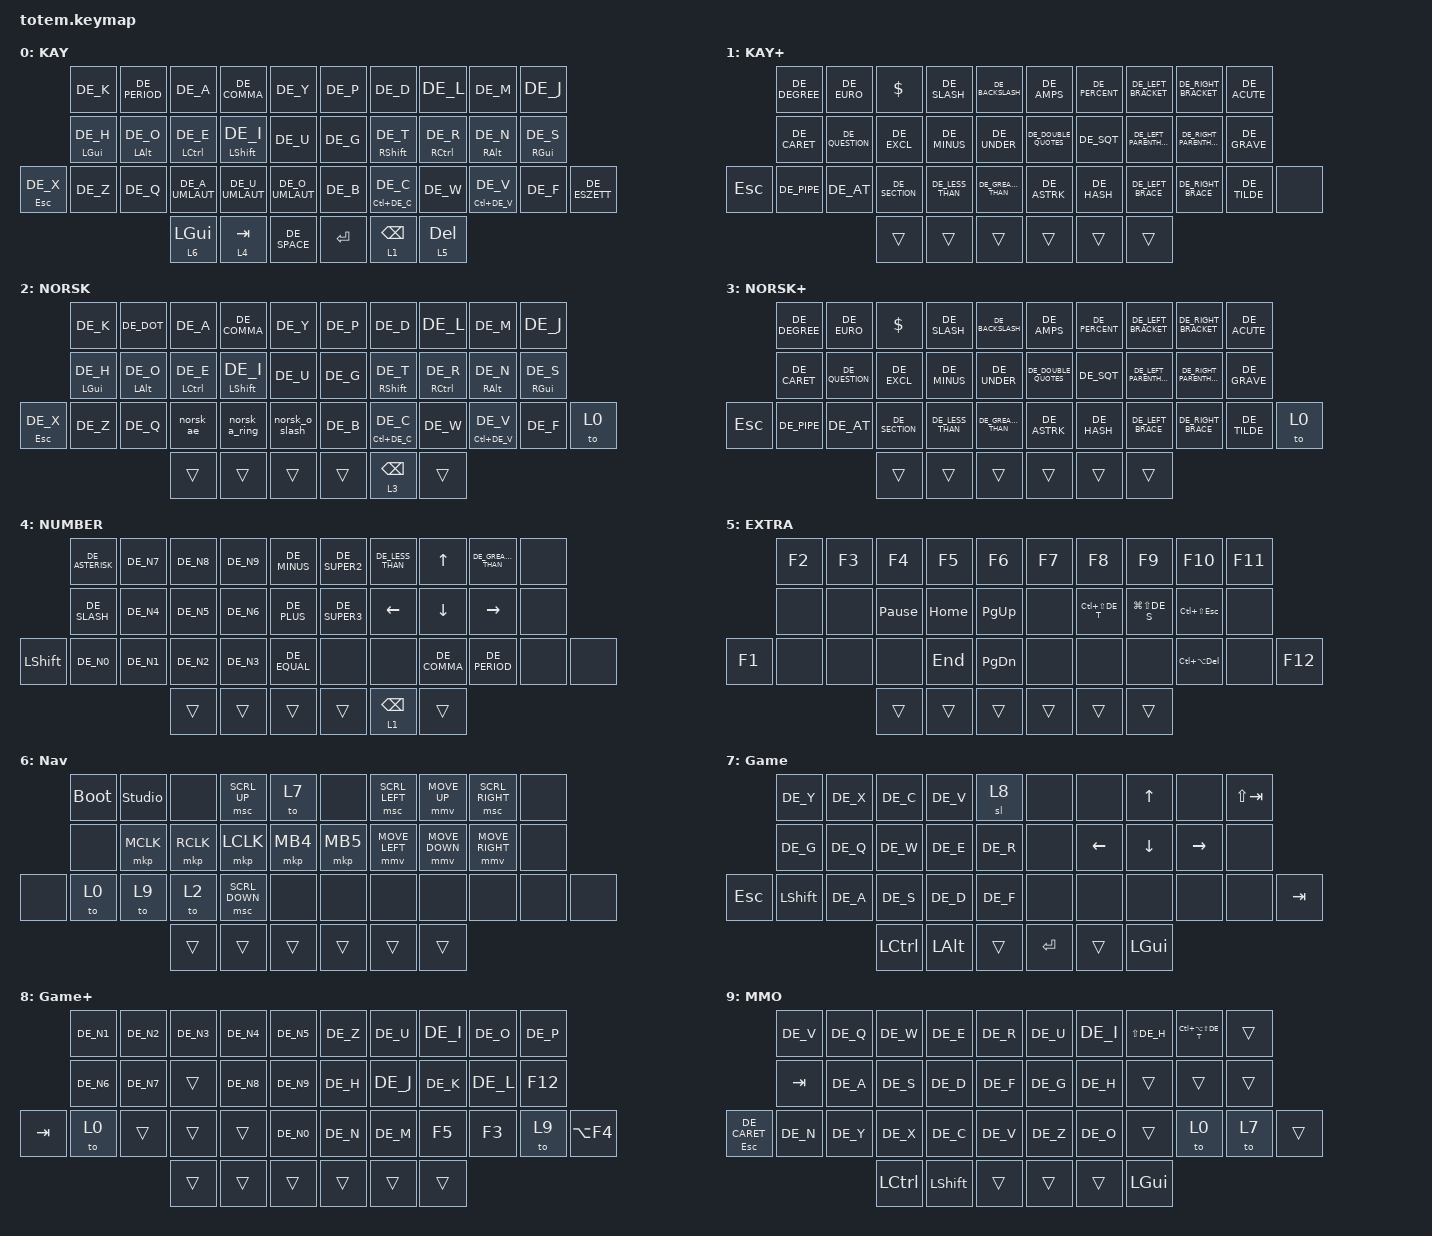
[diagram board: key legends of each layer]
//
//                                                        ▀▀▀▀▀     ▀▀▀▀▀          ▀▀█▀▀
//                                                        ▄▀▀▀▄  ▄  ▄▀▀▀▄  ▄  ▄▀▀▀▄  █  ▄▀▀▀▄
//                                                        █   █  █  █   █  █  █   █  █  █   █
//                                                         ▀▀▀   █   ▀▀▀   █   ▀▀▀   ▀   ▀▀▀
//                                                               █      ▄▄▄█▄▄▄    █   █  
//                                                               ▀      █  █  █     █▄█
//                                                             ▀▀▀▀▀    █  █  █      ▀
//                                                                      ▀  ▀  ▀
//
// ▄▄▄▄▄▄▄▄▄▄▄▄▄▄▄▄▄▄▄▄▄▄▄▄▄▄▄▄▄▄▄▄▄▄▄▄▄▄▄▄▄▄▄▄▄▄▄▄▄▄▄▄▄▄▄▄▄▄▄▄▄▄▄▄▄▄▄▄▄▄▄▄▄▄▄▄▄▄▄▄▄▄▄▄▄▄▄▄▄▄▄▄▄▄▄▄▄▄▄▄▄▄▄▄▄▄▄▄▄▄▄▄▄▄▄▄▄▄▄▄▄▄▄▄▄▄▄▄▄▄▄▄▄▄▄▄▄▄▄▄▄▄▄▄▄▄▄▄▄

#include <behaviors.dtsi>
#include <dt-bindings/zmk/keys.h>
#include <dt-bindings/zmk/pointing.h>
#include "keys_de.h"
#include "keys_nb.h"

#define Base        0
#define Nav         1
#define Sym         2
#define Fun         3
#define Game        4
#define Gameplus    5

&mt {
    quick-tap-ms = <100>;
    global-quick-tap;
    flavor = "tap-preferred";
    tapping-term-ms = <250>;
};

&lt {
    tapping-term-ms = <240>;
    flavor = "balanced";
    quick-tap-ms = <150>;
};

/ {
    behaviors {
        hm: homerow_mods {
            compatible = "zmk,behavior-hold-tap";
            label = "HOMEROW_MODS";
            #binding-cells = <2>;
            flavor = "tap-preferred";
            tapping-term-ms = <200>;
            quick-tap-ms = <125>;
            global-quick-tap;
            bindings = <&kp>, <&kp>;
        };

        LongPress: LongPress {
            compatible = "zmk,behavior-hold-tap";
            label = "LONGPRESS";
            bindings = <&kp>, <&kp>;

            #binding-cells = <2>;
            tapping-term-ms = <400>;
            flavor = "tap-preferred";
            hold-trigger-on-release;
        };

        HRShiftR: HRShiftR {
            compatible = "zmk,behavior-hold-tap";
            label = "HRSHIFTR";
            bindings = <&kp>, <&kp>;

            #binding-cells = <2>;
            tapping-term-ms = <200>;
            hold-trigger-on-release;
            hold-trigger-key-positions = <0 1 2 3 4 10 11 12 13 14 20 21 22 23 24 25 32 33 34>;
            quick-tap-ms = <125>;
        };

        HRShiftL: HRShiftL {
            compatible = "zmk,behavior-hold-tap";
            label = "HRSHIFTL";
            bindings = <&kp>, <&kp>;

            #binding-cells = <2>;
            tapping-term-ms = <200>;
            hold-trigger-on-release;
            hold-trigger-key-positions = <5 6 7 8 9 15 16 17 18 19 26 27 28 29 30 31 35 36 37>;
            quick-tap-ms = <125>;
        };

        HMR: HMR {
            compatible = "zmk,behavior-hold-tap";
            label = "HMR";
            bindings = <&kp>, <&kp>;

            #binding-cells = <2>;
            tapping-term-ms = <200>;
            hold-trigger-on-release;
            flavor = "tap-preferred";
            hold-trigger-key-positions = <0 1 2 3 4 10 11 12 13 14 20 21 22 23 24 25 32 33 34>;
            quick-tap-ms = <125>;
        };

        HML: HML {
            compatible = "zmk,behavior-hold-tap";
            label = "HML";
            bindings = <&kp>, <&kp>;

            #binding-cells = <2>;
            tapping-term-ms = <200>;
            hold-trigger-on-release;
            flavor = "tap-preferred";
            hold-trigger-key-positions = <5 6 7 8 9 15 16 17 18 19 26 27 28 29 30 31 35 36 37>;
            quick-tap-ms = <125>;
        };

        tlp: tlp {
            compatible = "zmk,behavior-hold-tap";
            label = "TOGGLELAYERPRESS";
            bindings = <&tog>, <&kp>;

            #binding-cells = <2>;
            tapping-term-ms = <350>;
            flavor = "tap-preferred";
        };
    };

    combos {
        compatible = "zmk,combos";

        caps {
            bindings = <&caps_word>;
            key-positions = <34 35>;
            timeout-ms = <150>;
            layers = <0 2>;
            require-prior-idle-ms = <100>;
        };

        sqt {
            bindings = <&kp DE_SQT>;
            key-positions = <16 17>;
            timeout-ms = <150>;
            layers = <0 2>;
            require-prior-idle-ms = <100>;
        };

        minus {
            bindings = <&kp DE_MINUS>;
            key-positions = <13 12>;
            timeout-ms = <150>;
            layers = <0 2>;
            require-prior-idle-ms = <100>;
        };

        underscore {
            bindings = <&kp DE_UNDERSCORE>;
            key-positions = <2 3>;
            timeout-ms = <150>;
            layers = <0 2>;
            require-prior-idle-ms = <100>;
        };

        dqt {
            bindings = <&kp DE_DQT>;
            key-positions = <7 6>;
            timeout-ms = <150>;
            layers = <0 2>;
            require-prior-idle-ms = <100>;
        };

        question {
            bindings = <&kp DE_QUESTION>;
            key-positions = <1 2>;
            timeout-ms = <150>;
            layers = <0 2>;
            require-prior-idle-ms = <100>;
        };

        excl {
            bindings = <&kp DE_EXCLAMATION>;
            key-positions = <11 12>;
            timeout-ms = <150>;
            layers = <0 2>;
            require-prior-idle-ms = <100>;
        };

        slash {
            bindings = <&kp DE_SLASH>;
            key-positions = <24 23>;
            timeout-ms = <150>;
            layers = <0 2>;
            require-prior-idle-ms = <100>;
        };

        backslash {
            bindings = <&kp DE_BACKSLASH>;
            key-positions = <23 22>;
            timeout-ms = <150>;
            layers = <0 2>;
            require-prior-idle-ms = <100>;
        };

        left_parenthesis {
            bindings = <&kp DE_LEFT_PARENTHESIS>;
            key-positions = <27 28>;
            timeout-ms = <150>;
            layers = <0 2>;
            require-prior-idle-ms = <100>;
        };

        right_parenthesis {
            bindings = <&kp DE_RIGHT_PARENTHESIS>;
            key-positions = <28 29>;
            timeout-ms = <150>;
            layers = <0 2>;
            require-prior-idle-ms = <100>;
        };

        and {
            bindings = <&kp DE_AMPERSAND>;
            key-positions = <17 18>;
            timeout-ms = <150>;
            layers = <0 2>;
            require-prior-idle-ms = <100>;
        };

        pipe {
            bindings = <&kp DE_PIPE>;
            key-positions = <7 8>;
            timeout-ms = <150>;
            layers = <0 2>;
            require-prior-idle-ms = <100>;
        };

        plus {
            bindings = <&kp DE_PLUS>;
            key-positions = <0 1>;
            timeout-ms = <150>;
            layers = <0 2>;
            require-prior-idle-ms = <100>;
        };

        equal {
            bindings = <&kp DE_EQUAL>;
            key-positions = <10 11>;
            timeout-ms = <150>;
            require-prior-idle-ms = <100>;
            layers = <0 2>;
        };

        asterisk {
            bindings = <&kp DE_EQUAL>;
            key-positions = <21 22>;
            timeout-ms = <150>;
            require-prior-idle-ms = <100>;
            layers = <0 2>;
        };
    };

    macros {
        norsk_ae: norsk_ae {
            compatible = "zmk,behavior-macro";
            #binding-cells = <0>;
            bindings = <&kp RA(DE_F) &kp DE_A_UMLAUT>;
            label = "AE";
        };

        norsk_a_ring: norsk_a_ring {
            compatible = "zmk,behavior-macro";
            #binding-cells = <0>;
            bindings = <&kp RA(DE_O) &kp DE_A>;
            label = "NORSK_A_RING";
        };

        norsk_o_slash: norsk_o_slash {
            compatible = "zmk,behavior-macro";
            #binding-cells = <0>;
            bindings = <&kp RA(DE_F) &kp DE_O>;
            label = "NORSK_O_SLASH";
        };
    };

    keymap {
        compatible = "zmk,keymap";

        KAY {
            display-name = "KAY";
            bindings = <
                 &kp DE_K        &kp DE_PERIOD   &kp DE_A         &kp DE_COMMA           &kp DE_Y           &kp DE_P   &kp DE_D              &kp DE_L         &kp DE_M           &kp DE_J
                 &HML LGUI DE_H  &HML LALT DE_O  &HML LCTRL DE_E  &HRShiftL LSHIFT DE_I  &kp DE_U           &kp DE_G   &HRShiftR RSHFT DE_T  &HMR RCTRL DE_R  &HMR RALT DE_N     &HMR RGUI DE_S
&mt ESCAPE DE_X  &kp DE_Z        &kp DE_Q        &kp DE_A_UMLAUT  &kp DE_U_UMLAUT        &kp DE_O_UMLAUT    &kp DE_B   &mt LC(DE_C) DE_C     &kp DE_W         &mt LC(DE_V) DE_V  &kp DE_F        &kp DE_ESZETT
                                                 &tlp 6 LEFT_GUI  &lt 4 TAB              &kp DE_SPACE       &kp ENTER  &lt 1 BSPC            &lt 5 DELETE
            >;
        };

        KAY+ {
            bindings = <
            &kp DE_DEGREE  &kp DE_EURO      &kp DOLLAR      &kp DE_SLASH      &kp DE_BACKSLASH       &kp DE_AMPS           &kp DE_PERCENT  &kp DE_LEFT_BRACKET      &kp DE_RIGHT_BRACKET      &kp DE_ACUTE
            &kp DE_CARET   &kp DE_QUESTION  &kp DE_EXCL     &kp DE_MINUS      &kp DE_UNDER           &kp DE_DOUBLE_QUOTES  &kp DE_SQT      &kp DE_LEFT_PARENTHESIS  &kp DE_RIGHT_PARENTHESIS  &kp DE_GRAVE
&kp ESCAPE  &kp DE_PIPE    &kp DE_AT        &kp DE_SECTION  &kp DE_LESS_THAN  &kp DE_GREATER_THAN    &kp DE_ASTRK          &kp DE_HASH     &kp DE_LEFT_BRACE        &kp DE_RIGHT_BRACE        &kp DE_TILDE  &none
                                            &trans          &trans            &trans                 &trans                &trans          &trans
            >;

            label = "KAY+";
        };

        NORSK {
            display-name = "NORSK";
            bindings = <
                 &kp DE_K        &kp DE_DOT      &kp DE_A         &kp DE_COMMA           &kp DE_Y          &kp DE_P  &kp DE_D              &kp DE_L         &kp DE_M           &kp DE_J
                 &HML LGUI DE_H  &HML LALT DE_O  &HML LCTRL DE_E  &HRShiftL LSHIFT DE_I  &kp DE_U          &kp DE_G  &HRShiftR RSHFT DE_T  &HMR RCTRL DE_R  &HMR RALT DE_N     &HMR RGUI DE_S
&mt ESCAPE DE_X  &kp DE_Z        &kp DE_Q        &norsk_ae        &norsk_a_ring          &norsk_o_slash    &kp DE_B  &mt LC(DE_C) DE_C     &kp DE_W         &mt LC(DE_V) DE_V  &kp DE_F        &to 0
                                                 &trans           &trans                 &trans            &trans    &lt 3 BSPC            &trans
            >;
        };

        NORSK+ {
            label = "NORSK+";
            bindings = <
            &kp DE_DEGREE  &kp DE_EURO      &kp DOLLAR      &kp DE_SLASH      &kp DE_BACKSLASH       &kp DE_AMPS           &kp DE_PERCENT  &kp DE_LEFT_BRACKET      &kp DE_RIGHT_BRACKET      &kp DE_ACUTE
            &kp DE_CARET   &kp DE_QUESTION  &kp DE_EXCL     &kp DE_MINUS      &kp DE_UNDER           &kp DE_DOUBLE_QUOTES  &kp DE_SQT      &kp DE_LEFT_PARENTHESIS  &kp DE_RIGHT_PARENTHESIS  &kp DE_GRAVE
&kp ESCAPE  &kp DE_PIPE    &kp DE_AT        &kp DE_SECTION  &kp DE_LESS_THAN  &kp DE_GREATER_THAN    &kp DE_ASTRK          &kp DE_HASH     &kp DE_LEFT_BRACE        &kp DE_RIGHT_BRACE        &kp DE_TILDE  &to 0
                                            &trans          &trans            &trans                 &trans                &trans          &trans
            >;
        };

        NUMBER {
            display-name = "NUMBER";
            bindings = <
                &kp DE_ASTERISK  &kp DE_N7  &kp DE_N8  &kp DE_N9  &kp DE_MINUS    &kp DE_SUPER2  &kp DE_LESS_THAN  &kp UP_ARROW    &kp DE_GREATER_THAN  &none
                &kp DE_SLASH     &kp DE_N4  &kp DE_N5  &kp DE_N6  &kp DE_PLUS     &kp DE_SUPER3  &kp LEFT_ARROW    &kp DOWN_ARROW  &kp RIGHT_ARROW      &none
&kp LEFT_SHIFT  &kp DE_N0        &kp DE_N1  &kp DE_N2  &kp DE_N3  &kp DE_EQUAL    &none          &none             &kp DE_COMMA    &kp DE_PERIOD        &none  &none
                                            &trans     &trans     &trans          &trans         &lt 1 BACKSPACE   &trans
            >;
        };

        EXTRA {
            display-name = "EXTRA";
            bindings = <
        &kp F2  &kp F3  &kp F4           &kp F5    &kp F6           &kp F7  &kp F8            &kp F9            &kp F10             &kp F11
        &none   &none   &kp PAUSE_BREAK  &kp HOME  &kp PAGE_UP      &none   &kp LC(LS(DE_T))  &kp LG(LS(DE_S))  &kp LC(LS(ESCAPE))  &none
&kp F1  &none   &none   &none            &kp END   &kp PAGE_DOWN    &none   &none             &none             &kp LC(LA(DELETE))  &none    &kp F12
                        &trans           &trans    &trans           &trans  &trans            &trans
            >;
        };

        Nav {
            display-name = "Nav";
            bindings = <
       &bootloader  &studio_unlock  &none      &msc SCRL_UP    &to 7       &none     &msc SCRL_LEFT  &mmv MOVE_UP    &msc SCRL_RIGHT  &none
       &none        &mkp MCLK       &mkp RCLK  &mkp LCLK       &mkp MB4    &mkp MB5  &mmv MOVE_LEFT  &mmv MOVE_DOWN  &mmv MOVE_RIGHT  &none
&none  &to 0        &to 9           &to 2      &msc SCRL_DOWN  &none       &none     &none           &none           &none            &none  &none
                                    &trans     &trans          &trans      &trans    &trans          &trans
            >;
        };

        GAME {
            display-name = "Game";
            bindings = <
         &kp DE_Y        &kp DE_X  &kp DE_C   &kp DE_V      &sl 8       &none      &none           &kp UP_ARROW    &none            &kp LS(TAB)
         &kp DE_G        &kp DE_Q  &kp DE_W   &kp DE_E      &kp DE_R    &none      &kp LEFT_ARROW  &kp DOWN_ARROW  &kp RIGHT_ARROW  &none
&kp ESC  &kp LEFT_SHIFT  &kp DE_A  &kp DE_S   &kp DE_D      &kp DE_F    &none      &none           &none           &none            &none        &kp TAB
                                   &kp LCTRL  &kp LEFT_ALT  &trans      &kp ENTER  &trans          &kp LEFT_GUI
            >;
        };

        GAME+ {
            display-name = "Game+";
            bindings = <
         &kp DE_N1  &kp DE_N2  &kp DE_N3  &kp DE_N4  &kp DE_N5    &kp DE_Z  &kp DE_U  &kp DE_I  &kp DE_O  &kp DE_P
         &kp DE_N6  &kp DE_N7  &trans     &kp DE_N8  &kp DE_N9    &kp DE_H  &kp DE_J  &kp DE_K  &kp DE_L  &kp F12
&kp TAB  &to 0      &trans     &trans     &trans     &kp DE_N0    &kp DE_N  &kp DE_M  &kp F5    &kp F3    &to 9     &kp LA(F4)
                               &trans     &trans     &trans       &trans    &trans    &trans
            >;
        };

        MMO {
            bindings = <
                     &kp DE_V  &kp DE_Q  &kp DE_W   &kp DE_E        &kp DE_R    &kp DE_U  &kp DE_I  &kp LS(DE_H)  &kp LC(LA(LS(DE_T)))  &trans
                     &kp TAB   &kp DE_A  &kp DE_S   &kp DE_D        &kp DE_F    &kp DE_G  &kp DE_H  &trans        &trans                &trans
&mt ESCAPE DE_CARET  &kp DE_N  &kp DE_Y  &kp DE_X   &kp DE_C        &kp DE_V    &kp DE_Z  &kp DE_O  &trans        &to 0                 &to 7   &trans
                                         &kp LCTRL  &kp LEFT_SHIFT  &trans      &trans    &trans    &kp LEFT_GUI
            >;

            label = "MMO";
        };
    };
};
